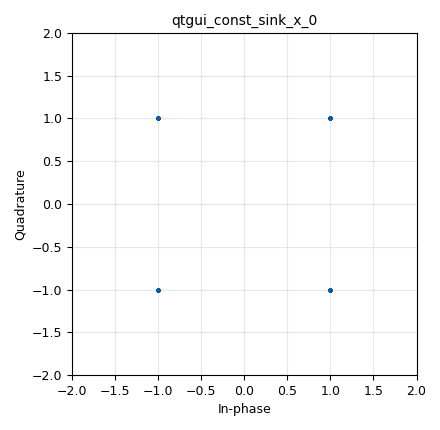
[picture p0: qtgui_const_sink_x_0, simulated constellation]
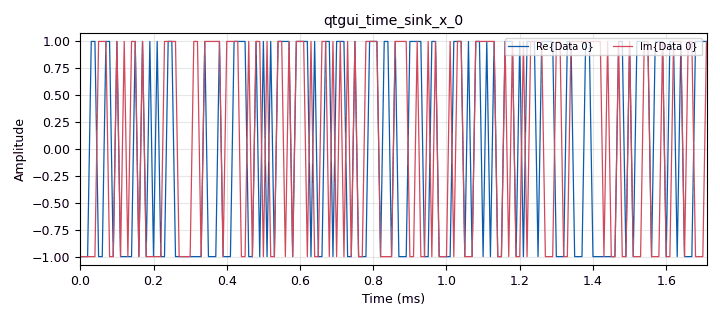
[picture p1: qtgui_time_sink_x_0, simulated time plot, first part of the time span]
<?xml version='1.0' encoding='utf-8'?>
<?grc format='1' created='3.7.7'?>
<flow_graph>
<block>
<key>options</key>
<param><key>id</key><value>top_block</value></param>
<param><key>generate_options</key><value>qt_gui</value></param>
<param><key>category</key><value>Custom</value></param>
</block>
<block>
<key>variable</key>
<param><key>id</key><value>samp_rate</value></param>
<param><key>value</key><value>100000</value></param>
</block>
<block>
<key>variable_qtgui_range</key>
<param><key>id</key><value>cutoff</value></param>
<param><key>value</key><value>50000</value></param>
<param><key>start</key><value>0</value></param>
<param><key>stop</key><value>100000</value></param>
<param><key>step</key><value>1000</value></param>
<param><key>orient</key><value>Qt.Horizontal</value></param>
</block>
<block>
<key>analog_random_source_x</key>
<param><key>id</key><value>analog_random_source_x_0</value></param>
<param><key>type</key><value>byte</value></param>
<param><key>min</key><value>0</value></param>
<param><key>max</key><value>4</value></param>
<param><key>num_samps</key><value>1000</value></param>
<param><key>repeat</key><value>True</value></param>
</block>
<block>
<key>blocks_throttle</key>
<param><key>id</key><value>blocks_throttle_0</value></param>
<param><key>type</key><value>complex</value></param>
<param><key>samples_per_second</key><value>samp_rate</value></param>
</block>
<block>
<key>qtgui_const_sink_x</key>
<param><key>id</key><value>qtgui_const_sink_x_0</value></param>
<param><key>type</key><value>complex</value></param>
<param><key>size</key><value>1024</value></param>
</block>
<block>
<key>qtgui_time_sink_x</key>
<param><key>id</key><value>qtgui_time_sink_x_0</value></param>
<param><key>type</key><value>complex</value></param>
<param><key>size</key><value>1024</value></param>
<param><key>srate</key><value>samp_rate</value></param>
<param><key>label1</key><value></value></param>
<param><key>color1</key><value>"blue"</value></param>
<param><key>label2</key><value></value></param>
<param><key>color2</key><value>"red"</value></param>
</block>
<block>
<key>digital_chunks_to_symbols_xx</key>
<param><key>id</key><value>digital_chunks_to_symbols_xx_0</value></param>
<param><key>in_type</key><value>byte</value></param>
<param><key>out_type</key><value>complex</value></param>
<param><key>symbol_table</key><value>[complex(1,1),complex(1,-1),complex(-1,1),complex(-1,-1)]</value></param>
<param><key>dimension</key><value>1</value></param>
</block>
<connection><source_block_id>analog_random_source_x_0</source_block_id><sink_block_id>digital_chunks_to_symbols_xx_0</sink_block_id><source_key>0</source_key><sink_key>0</sink_key></connection>
<connection><source_block_id>digital_chunks_to_symbols_xx_0</source_block_id><sink_block_id>blocks_throttle_0</sink_block_id><source_key>0</source_key><sink_key>0</sink_key></connection>
<connection><source_block_id>blocks_throttle_0</source_block_id><sink_block_id>qtgui_const_sink_x_0</sink_block_id><source_key>0</source_key><sink_key>0</sink_key></connection>
<connection><source_block_id>blocks_throttle_0</source_block_id><sink_block_id>qtgui_time_sink_x_0</sink_block_id><source_key>0</source_key><sink_key>0</sink_key></connection>
</flow_graph>
